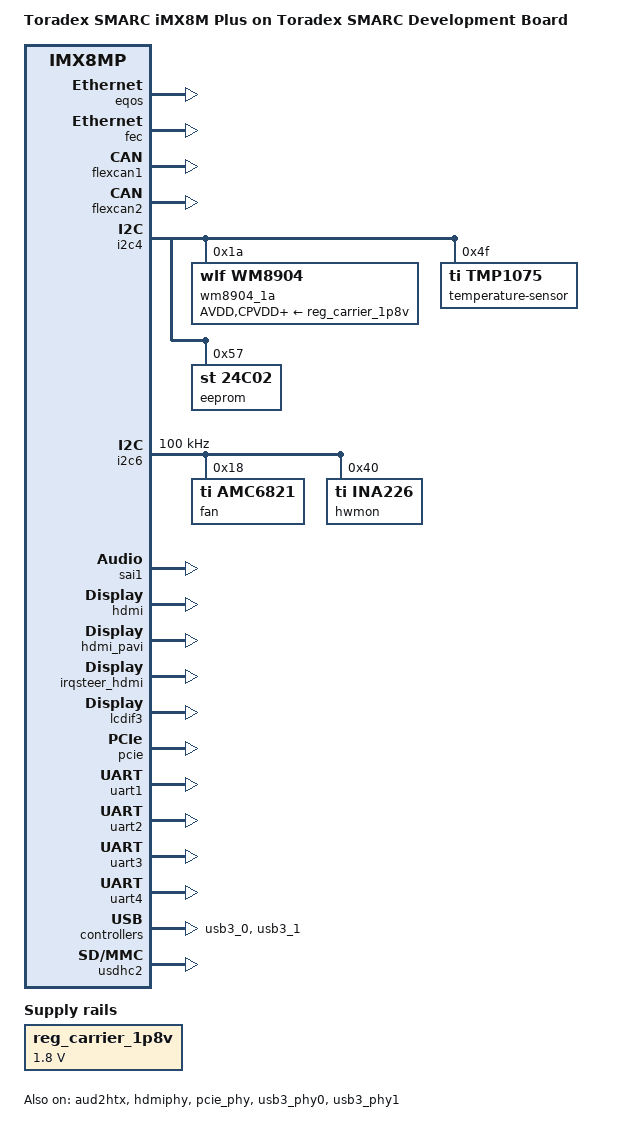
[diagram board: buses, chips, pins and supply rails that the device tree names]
// SPDX-License-Identifier: GPL-2.0-or-later OR MIT
/* Copyright (C) 2024 Toradex */

/dts-v1/;

#include "imx8mp-toradex-smarc.dtsi"

/ {
	model = "Toradex SMARC iMX8M Plus on Toradex SMARC Development Board";
	compatible = "toradex,smarc-imx8mp-dev",
		     "toradex,smarc-imx8mp",
		     "fsl,imx8mp";

	reg_carrier_1p8v: regulator-carrier-1p8v {
		compatible = "regulator-fixed";
		regulator-max-microvolt = <1800000>;
		regulator-min-microvolt = <1800000>;
		regulator-name = "On-carrier 1V8";
	};

	sound {
		compatible = "simple-audio-card";
		simple-audio-card,bitclock-master = <&codec_dai>;
		simple-audio-card,format = "i2s";
		simple-audio-card,frame-master = <&codec_dai>;
		simple-audio-card,mclk-fs = <256>;
		simple-audio-card,name = "tdx-smarc-wm8904";
		simple-audio-card,routing =
			"Headphone Jack", "HPOUTL",
			"Headphone Jack", "HPOUTR",
			"IN2L", "Line In Jack",
			"IN2R", "Line In Jack",
			"Headphone Jack", "MICBIAS",
			"IN1L", "Headphone Jack";
		simple-audio-card,widgets =
			"Microphone", "Headphone Jack",
			"Headphone", "Headphone Jack",
			"Line", "Line In Jack";

		codec_dai: simple-audio-card,codec {
			clocks = <&audio_blk_ctrl IMX8MP_CLK_AUDIOMIX_SAI1_MCLK1>;
			sound-dai = <&wm8904_1a>;
		};

		simple-audio-card,cpu {
			sound-dai = <&sai1>;
		};
	};
};

&aud2htx {
	status = "okay";
};

/* SMARC GBE0 */
&eqos {
	status = "okay";
};

/* SMARC GBE1 */
&fec {
	status = "okay";
};

/* SMARC CAN1 */
&flexcan1 {
	status = "okay";
};

/* SMARC CAN0 */
&flexcan2 {
	status = "okay";
};

/* SMARC I2C_GP */
&i2c4 {
	/* Audio Codec */
	wm8904_1a: audio-codec@1a {
		compatible = "wlf,wm8904";
		reg = <0x1a>;
		pinctrl-names = "default";
		pinctrl-0 = <&pinctrl_sai1>, <&pinctrl_sai1_mclk>;
		#sound-dai-cells = <0>;
		clocks = <&audio_blk_ctrl IMX8MP_CLK_AUDIOMIX_SAI1_MCLK1>;
		clock-names = "mclk";
		AVDD-supply = <&reg_carrier_1p8v>;
		CPVDD-supply = <&reg_carrier_1p8v>;
		DBVDD-supply = <&reg_carrier_1p8v>;
		DCVDD-supply = <&reg_carrier_1p8v>;
		MICVDD-supply = <&reg_carrier_1p8v>;
	};

	/* On-Carrier Temperature Sensor */
	temperature-sensor@4f {
		compatible = "ti,tmp1075";
		reg = <0x4f>;
	};

	/* On-Carrier EEPROM */
	eeprom@57 {
		compatible = "st,24c02";
		reg = <0x57>;
		pagesize = <16>;
	};
};

/* SMARC I2C_PM */
&i2c6 {
	clock-frequency = <100000>;
	status = "okay";

	/* Fan controller */
	fan@18 {
		compatible = "ti,amc6821";
		reg = <0x18>;
	};

	/* Current measurement into module VDD */
	hwmon@40 {
		compatible = "ti,ina226";
		reg = <0x40>;
		shunt-resistor = <5000>;
	};
};

/* SMARC I2S0 */
&sai1 {
	assigned-clocks = <&clk IMX8MP_CLK_SAI1>;
	assigned-clock-parents = <&clk IMX8MP_AUDIO_PLL1_OUT>;
	assigned-clock-rates = <24576000>;
	fsl,sai-mclk-direction-output;
	status = "okay";
};

/* SMARC HDMI */
&hdmi {
	status = "okay";
};

&hdmiphy {
	status = "okay";
};

&hdmi_pavi {
	status = "okay";
};

&irqsteer_hdmi {
	status = "okay";
};

&lcdif3 {
	status = "okay";
};

/* SMARC PCIE_A, M2 Key B */
&pcie {
	status = "okay";
};

&pcie_phy {
	status = "okay";
};

/* SMARC HDMI Audio */
&sound_hdmi {
	status = "okay";
};

/* SMARC SER0, RS485. Optional M.2 KEY E */
&uart1 {
	linux,rs485-enabled-at-boot-time;
	rs485-rts-active-low;
	rs485-rx-during-tx;
	uart-has-rtscts;
	status = "okay";
};

/* SMARC SER2 */
&uart2 {
	uart-has-rtscts;
	status = "okay";
};

/* SMARC SER3, RS232. */
&uart3 {
	status = "okay";
};

/* SMARC SER1, used as the Linux Console */
&uart4 {
	status = "okay";
};

/* SMARC USB0 */
&usb3_0 {
	status = "okay";
};

/* SMARC USB1..4 */
&usb3_1 {
	status = "okay";
};

&usb3_phy0 {
	status = "okay";
};

&usb3_phy1 {
	status = "okay";
};

/* SMARC SDIO */
&usdhc2 {
	status = "okay";
};
